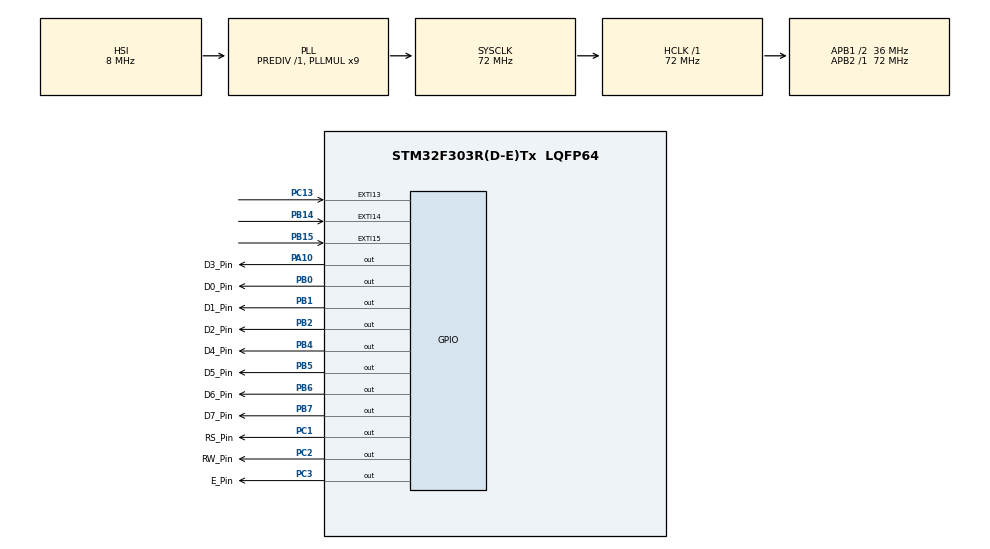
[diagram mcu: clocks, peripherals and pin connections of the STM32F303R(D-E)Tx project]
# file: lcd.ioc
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Mcu.Family=STM32F3
Mcu.Name=STM32F303R(D-E)Tx
Mcu.Package=LQFP64
NVIC.EXTI15_10_IRQn=true\:0\:0\:false\:false\:true\:true\:true\:true
NVIC.PriorityGroup=NVIC_PRIORITYGROUP_4
NVIC.TIM2_IRQn=true\:1\:0\:true\:false\:true\:true\:true\:true
PA10.GPIO_Label=D3_Pin
PA10.Signal=GPIO_Output
PA13.Mode=Serial_Wire
PA13.Signal=SYS_JTMS-SWDIO
PA14.Mode=Serial_Wire
PA14.Signal=SYS_JTCK-SWCLK
PB0.GPIO_Label=D0_Pin
PB0.Signal=GPIO_Output
PB1.GPIO_Label=D1_Pin
PB1.Signal=GPIO_Output
PB14.GPIO_ModeDefaultEXTI=GPIO_MODE_IT_FALLING
PB14.GPIO_PuPd=GPIO_PULLUP
PB14.Signal=GPXTI14
PB15.GPIO_ModeDefaultEXTI=GPIO_MODE_IT_FALLING
PB15.GPIO_PuPd=GPIO_PULLUP
PB15.Signal=GPXTI15
PB2.GPIO_Label=D2_Pin
PB2.Signal=GPIO_Output
PB4.GPIO_Label=D4_Pin
PB4.Signal=GPIO_Output
PB5.GPIO_Label=D5_Pin
PB5.Signal=GPIO_Output
PB6.GPIO_Label=D6_Pin
PB6.Signal=GPIO_Output
PB7.GPIO_Label=D7_Pin
PB7.Signal=GPIO_Output
PC1.GPIO_Label=RS_Pin
PC1.Signal=GPIO_Output
PC13.GPIO_ModeDefaultEXTI=GPIO_MODE_IT_FALLING
PC13.GPIO_PuPd=GPIO_PULLUP
PC13.Signal=GPXTI13
PC2.GPIO_Label=RW_Pin
PC2.Signal=GPIO_Output
PC3.GPIO_Label=E_Pin
PC3.Signal=GPIO_Output
PF0-OSC_IN.Mode=HSE-External-Oscillator
PF0-OSC_IN.Signal=RCC_OSC_IN
PF1-OSC_OUT.Mode=HSE-External-Oscillator
PF1-OSC_OUT.Signal=RCC_OSC_OUT
ProjectManager.HeapSize=0x200
ProjectManager.StackSize=0x400
ProjectManager.TargetToolchain=STM32CubeIDE
RCC.AHBFreq_Value=72000000
RCC.APB1CLKDivider=RCC_HCLK_DIV2
RCC.APB1Freq_Value=36000000
RCC.APB1TimFreq_Value=72000000
RCC.APB2Freq_Value=72000000
RCC.APB2TimFreq_Value=72000000
RCC.CortexFreq_Value=72000000
RCC.HCLKFreq_Value=72000000
RCC.HSE_VALUE=8000000
RCC.HSI_VALUE=8000000
RCC.LSE_VALUE=32768
RCC.PLLMUL=RCC_PLL_MUL9
RCC.SYSCLKFreq_VALUE=72000000
RCC.SYSCLKSourceVirtual=RCC_SYSCLKSOURCE_PLLCLK
RCC.USBFreq_Value=72000000
TIM2.Period=0xffff-1
TIM2.Prescaler=71
TIM3.Period=0xffff-1
TIM3.Prescaler=71
VP_TIM2_VS_ClockSourceINT.Mode=Internal
VP_TIM3_VS_ClockSourceINT.Mode=Internal
board=custom

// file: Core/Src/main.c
/* USER CODE BEGIN Header */
/**
  ******************************************************************************
  * @file           : main.c
  * @brief          : Main program body
  ******************************************************************************
  * @attention
  *
  * Copyright (c) 2024 STMicroelectronics.
  * All rights reserved.
  *
  * This software is licensed under terms that can be found in the LICENSE file
  * in the root directory of this software component.
  * If no LICENSE file comes with this software, it is provided AS-IS.
  *
  ******************************************************************************
  */
/* USER CODE END Header */
#include "main.h"
#include "tim.h"
#include "gpio.h"

/* USER CODE BEGIN Includes */
#include <stdbool.h>
#include "lcd.h"
/* USER CODE END Includes */

/* USER CODE BEGIN PV */

volatile uint8_t lock;
volatile uint8_t printed;

bool state;
uint32_t cursor_position;
int displayField[16];

/* USER CODE END PV */

void SystemClock_Config(void);

/* USER CODE BEGIN 0 */
char alphabet[] = " ABCDEFGHIJKLMNOPQRSTUVWXYZ";
/* USER CODE END 0 */

int main(void)
{
  /* USER CODE BEGIN 1 */
	lock = 0;
	printed = 1;
	cursor_position=0;
	state=true;
	char formattedText[20];

	InitDisplayField(displayField);
  /* USER CODE END 1 */

  /* MCU Configuration--------------------------------------------------------*/

  /* Reset of all peripherals, Initializes the Flash interface and the Systick. */
  HAL_Init();

  /* Configure the system clock */
  SystemClock_Config();

  /* Initialize all configured peripherals */
  MX_GPIO_Init();
  MX_TIM3_Init();
  MX_TIM2_Init();
  /* USER CODE BEGIN 2 */
  HAL_TIM_Base_Start(&htim3);

  HAL_Delay(50);
  LCD_Init();
  HAL_Delay(20);
  LCD_InitBuffer();

  LCD_Add("Insert word:",0);
  LCD_SetLocation(0,0);
  LCD_Cursor(0);
  LCD_Blink(1);

  /* USER CODE END 2 */

  /* Infinite loop */
  /* USER CODE BEGIN WHILE */
  while (1)
  {
	  if (lock == 1) {
		  if (!printed) {
			  char val = alphabet[displayField[cursor_position]];
			  sprintf(formattedText, "%c", val);
			  LCD_UpdateBuffer(1, cursor_position, formattedText);
			  LCD_FlushBuffer();
			  printed =1;
		  }
		  lock = 0;
	  }
	  LCD_SetLocation(cursor_position,1);

    /* USER CODE END WHILE */

  }
}

void SystemClock_Config(void)
{
  RCC_OscInitTypeDef RCC_OscInitStruct = {0};
  RCC_ClkInitTypeDef RCC_ClkInitStruct = {0};
  RCC_PeriphCLKInitTypeDef PeriphClkInit = {0};

  /** Initializes the RCC Oscillators according to the specified parameters
  * in the RCC_OscInitTypeDef structure.
  */
  RCC_OscInitStruct.OscillatorType = RCC_OSCILLATORTYPE_HSI;
  RCC_OscInitStruct.HSIState = RCC_HSI_ON;
  RCC_OscInitStruct.HSICalibrationValue = RCC_HSICALIBRATION_DEFAULT;
  RCC_OscInitStruct.PLL.PLLState = RCC_PLL_ON;
  RCC_OscInitStruct.PLL.PLLSource = RCC_PLLSOURCE_HSI;
  RCC_OscInitStruct.PLL.PLLMUL = RCC_PLL_MUL9;
  RCC_OscInitStruct.PLL.PREDIV = RCC_PREDIV_DIV1;
  if (HAL_RCC_OscConfig(&RCC_OscInitStruct) != HAL_OK)
  {
    Error_Handler();
  }

  /** Initializes the CPU, AHB and APB buses clocks
  */
  RCC_ClkInitStruct.ClockType = RCC_CLOCKTYPE_HCLK|RCC_CLOCKTYPE_SYSCLK
                              |RCC_CLOCKTYPE_PCLK1|RCC_CLOCKTYPE_PCLK2;
  RCC_ClkInitStruct.SYSCLKSource = RCC_SYSCLKSOURCE_PLLCLK;
  RCC_ClkInitStruct.AHBCLKDivider = RCC_SYSCLK_DIV1;
  RCC_ClkInitStruct.APB1CLKDivider = RCC_HCLK_DIV2;
  RCC_ClkInitStruct.APB2CLKDivider = RCC_HCLK_DIV1;

  if (HAL_RCC_ClockConfig(&RCC_ClkInitStruct, FLASH_LATENCY_2) != HAL_OK)
  {
    Error_Handler();
  }
  PeriphClkInit.PeriphClockSelection = RCC_PERIPHCLK_TIM2|RCC_PERIPHCLK_TIM34;
  PeriphClkInit.Tim2ClockSelection = RCC_TIM2CLK_HCLK;
  PeriphClkInit.Tim34ClockSelection = RCC_TIM34CLK_HCLK;
  if (HAL_RCCEx_PeriphCLKConfig(&PeriphClkInit) != HAL_OK)
  {
    Error_Handler();
  }
}

/* USER CODE BEGIN 4 */
void InitDisplayField(char* displayField)
{
    for (int i = 0; i < LCD_X; i++) {
        displayField[i] = 0;
    }
}

int __io_putchar(int ch)
{
 ITM_SendChar(ch);
 return(ch);
}

void HAL_TIM_PeriodElapsedCallback(TIM_HandleTypeDef *htim)
{
  UNUSED(htim);

	if(HAL_GPIO_ReadPin(GPIOB, GPIO_PIN_14) == GPIO_PIN_RESET){
		if (cursor_position > 0) {
			cursor_position--;
		}
		state = true;
		HAL_TIM_Base_Stop_IT(&htim2);
	}
	if(HAL_GPIO_ReadPin(GPIOB, GPIO_PIN_15) == GPIO_PIN_RESET){
		if (cursor_position < LCD_X - 1) {
		    cursor_position++;
		}
		state = true;
		HAL_TIM_Base_Stop_IT(&htim2);
	}
}

void HAL_GPIO_EXTI_Callback(uint16_t GPIO_Pin)
{
  if(GPIO_Pin == GPIO_PIN_13) {
	  if (lock == 0) {
		  lock = 1;
		  if (displayField[cursor_position]<sizeof(alphabet)-2){
			  displayField[cursor_position]++;
		  }
		  else {
			  displayField[cursor_position]=0;
		  }
	      printed = 0;
	  }
  } else if(GPIO_Pin == GPIO_PIN_14 && state == true){
		HAL_TIM_Base_Start_IT(&htim2);
		state = false;

  } else if(GPIO_Pin == GPIO_PIN_15 && state == true){
  		HAL_TIM_Base_Start_IT(&htim2);
  		state = false;
  	}

   else {
	  __NOP();
  }
}
/* USER CODE END 4 */

void Error_Handler(void)
{
  __disable_irq();
  while (1)
  {
  }
}
